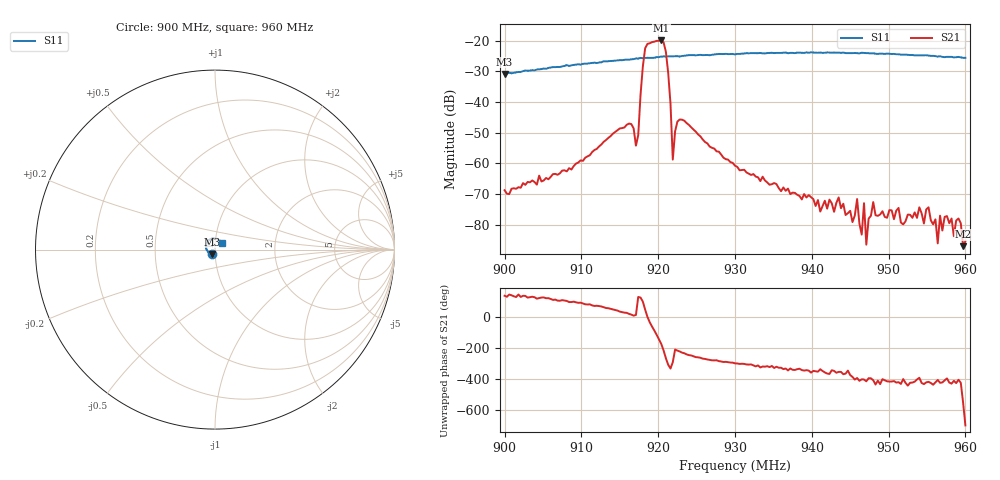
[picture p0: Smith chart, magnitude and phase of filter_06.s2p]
!File created by NanoVNA-F V2
# Hz S RI R 50
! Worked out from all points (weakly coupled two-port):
!   201 points, 900 MHz to 960 MHz, reference 50 ohm
!   highest |S21| = -19.94 dB at 920.4 MHz (marker M1); lowest = -87.0 dB at 959.7 MHz (marker M2)
!   lowest |S11| = -30.8 dB at 900 MHz (marker M3), VSWR 1.06, Z = 48.4 - j2.36 ohm
!   |S11| at or under -10 dB: start of sweep to end of sweep
!   S12 and S22 are empty: the file has one direction only
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9e8  -0.0152 -0.0243  -0.000248 0.000266  0 0  0 0
9.102e8  -0.0407 -0.00991  0.000116 0.00109  0 0  0 0
9.162e8  -0.0486 0.00665  0.00424 0.00132  0 0  0 0
9.171e8  -0.0504 0.00925  0.00191 0.000349  0 0  0 0
9.183e8  -0.0506 0.0128  0.0535 0.0527  0 0  0 0
9.201e8  -0.0505 0.0188  -0.0818 -0.0564  0 0  0 0
9.204e8  -0.0513 0.02  -0.1003 -0.00888  0 0  0 0
9.213e8  -0.0506 0.0223  0.0184 0.0234  0 0  0 0
9.219e8  -0.0498 0.0242  0.000414 0.00107  0 0  0 0
9.222e8  -0.0497 0.0252  -0.00284 0.00171  0 0  0 0
9.231e8  -0.0487 0.0281  -0.00327 0.00397  0 0  0 0
9.3e8  -0.038 0.046  0.000442 0.000801  0 0  0 0
9.402e8  -0.0154 0.0621  0.000254 5.8e-05  0 0  0 0
9.453e8  0.000954 0.0625  9.9e-05 -4.8e-05  0 0  0 0
9.459e8  0.00223 0.0625  0.00022 -0.000141  0 0  0 0
9.465e8  0.00364 0.0633  5.2e-05 -4.5e-05  0 0  0 0
9.468e8  0.0054 0.0627  0.000166 -0.00015  0 0  0 0
9.471e8  0.0049 0.0624  2.8e-05 -3.8e-05  0 0  0 0
9.48e8  0.00838 0.0618  0.00016 -0.00017  0 0  0 0
9.501e8  0.0144 0.0594  9.8e-05 -0.000142  0 0  0 0
9.597e8  0.0363 0.0377  -4.4e-05 7e-06  0 0  0 0
9.6e8  0.0369 0.0373  4.9e-05 2.2e-05  0 0  0 0
